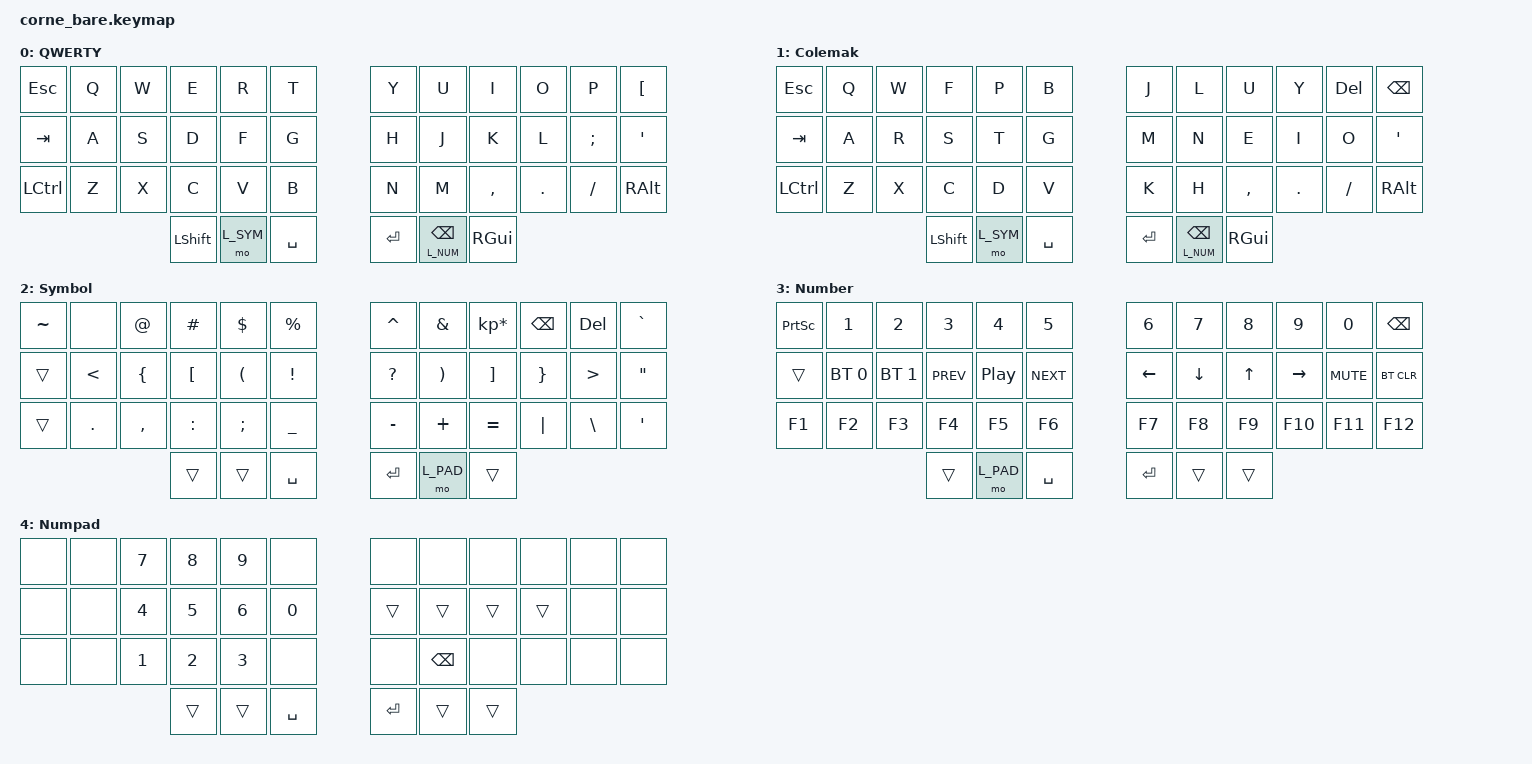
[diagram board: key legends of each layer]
#include <behaviors.dtsi>
#include <dt-bindings/zmk/bt.h>
#include <dt-bindings/zmk/keys.h>

#define L_QWE 0
#define L_CMK 1
#define L_SYM 2
#define L_NUM 3
#define L_PAD 4
#define ALL_LAYERS 0 1 2 3 4

#include "behaviors.dtsi"
#include "combos.dtsi"
#include "macros.dtsi"

/*
           Left Half                         Right Half
┌────┬────┬────┬────┬────┬────┐   ┌────┬────┬────┬────┬────┬────┐
| 00 | 01 | 02 | 03 | 04 | 05 |   | 06 | 07 | 08 | 09 | 10 | 11 |
├────┼────┼────┼────┼────┼────┤   ├────┼────┼────┼────┼────┼────┤
| 12 | 13 | 14 | 15 | 16 | 17 |   | 18 | 19 | 20 | 21 | 22 | 23 |
├────┼────┼────┼────┼────┼────┤   ├────┼────┼────┼────┼────┼────┤
| 24 | 25 | 26 | 27 | 28 | 29 |   | 30 | 31 | 32 | 33 | 34 | 35 |
└────┴────┴────┴────┴────┴────┘   └────┴────┴────┴────┴────┴────┘
               ┌────┬────┬────┐   ┌────┬────┬────┐
               | 36 | 37 | 38 |   | 39 | 40 | 41 |
               └────┴────┴────┘   └────┴────┴────┘
*/

/ {
    keymap {
        compatible = "zmk,keymap";

        qwerty_layer {
            display-name = "QWERTY";
            bindings = <
&kp ESCAPE	&kp Q	&kp W	&kp E		&kp R		&kp T				&kp Y	&kp U				&kp I		&kp O	&kp P			&kp LEFT_BRACKET
&kp TAB		&kp A	&kp S	&kp D		&kp F		&kp G				&kp H	&kp J				&kp K		&kp L	&kp SEMICOLON	&kp SINGLE_QUOTE
&kp LCTRL	&kp Z	&kp X	&kp C		&kp V		&kp B				&kp N	&kp M				&kp COMMA	&kp DOT	&kp FSLH		&kp RALT
							&kp LSHIFT	&mo L_SYM	&kp SPACE			&kp RET	&lt L_NUM BACKSPACE	&kp RGUI
            >;
        };

        colemak_layer {
            display-name = "Colemak";
            bindings = <
&kp ESCAPE	&kp Q	&kp W	&kp F		&kp P		&kp B				&kp J	&kp L				&kp U		&kp Y		&kp DELETE	&kp BACKSPACE
&kp TAB		&kp A	&kp R	&kp S		&kp T		&kp G				&kp M	&kp N				&kp E		&kp I		&kp O		&kp SINGLE_QUOTE
&kp LCTRL	&kp Z	&kp X	&kp C		&kp D		&kp V				&kp K	&kp H				&kp COMMA	&kp DOT		&kp FSLH	&kp RALT
							&kp LSHIFT	&mo L_SYM	&kp SPACE			&kp RET	&lt L_NUM BACKSPACE	&kp RGUI
            >;
        };

        symbol_layer {
            display-name = "Symbol";
            bindings = <
&kp TILDE	&none			&kp AT			&kp HASH			&kp DLLR				&kp PRCNT					&kp CARET		&kp AMPS				&kp KP_MULTIPLY		&kp BACKSPACE		&kp DELETE			&kp GRAVE
&trans		&kp LESS_THAN	&kp LEFT_BRACE	&kp LEFT_BRACKET	&kp LEFT_PARENTHESIS	&kp EXCLAMATION				&kp QUESTION	&kp RIGHT_PARENTHESIS	&kp RIGHT_BRACKET	&kp RIGHT_BRACE		&kp GREATER_THAN	&kp DOUBLE_QUOTES
&trans		&kp PERIOD		&kp COMMA		&kp COLON			&kp SEMICOLON			&kp UNDERSCORE				&kp MINUS		&kp PLUS				&kp EQUAL			&kp PIPE			&kp BACKSLASH		&kp SINGLE_QUOTE
											&trans				&trans					&kp SPACE					&kp RET			&mo L_PAD				&trans
            >;
        };

        number_layer {
            display-name = "Number";
            bindings = <
&kp PRINTSCREEN	&kp N1			&kp N2			&kp N3		&kp N4		&kp N5				&kp N6		&kp N7		&kp N8		&kp N9		&kp N0		&kp BSPC
&trans			&bt BT_SEL 0	&bt BT_SEL 1	&kp C_PREV	&kp C_PP	&kp C_NEXT			&kp LEFT	&kp DOWN	&kp UP		&kp RIGHT	&kp K_MUTE	&bt BT_CLR
&kp F1			&kp F2			&kp F3			&kp F4		&kp F5		&kp F6				&kp F7		&kp F8		&kp F9		&kp F10		&kp F11		&kp F12
												&trans		&mo L_PAD	&kp SPACE			&kp RET		&trans		&trans
            >;
        };

        numpad_layer {
            display-name = "Numpad";
            bindings = <
&none		&none		&kp N7		&kp N8		&kp N9		&none				&none		&none			&none		&none		&none		&none
&none		&none		&kp N4		&kp N5		&kp N6		&kp N0				&trans		&trans			&trans		&trans		&none		&none
&none		&none		&kp N1		&kp N2		&kp N3		&none				&none		&kp BACKSPACE	&none		&none		&none		&none
									&trans		&trans		&kp SPACE			&kp RET		&trans			&trans
            >;
        };
    };
};
